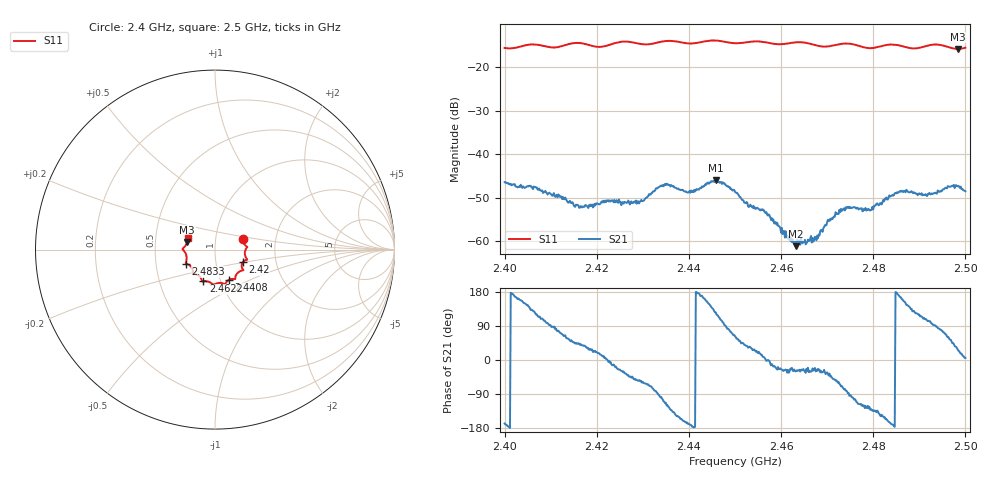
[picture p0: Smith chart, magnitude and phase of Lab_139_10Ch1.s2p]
# Hz S RI R 50
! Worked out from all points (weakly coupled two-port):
!   601 points, 2.4 GHz to 2.5 GHz, reference 50 ohm
!   highest |S21| = -46.00 dB at 2.4458 GHz (marker M1); lowest = -61.1 dB at 2.4632 GHz (marker M2)
!   lowest |S11| = -15.9 dB at 2.4983 GHz (marker M3), VSWR 1.38, Z = 36.5 + j3.1 ohm
!   |S11| at or under -10 dB: start of sweep to end of sweep
!   S12 and S22 are empty: the file has one direction only
!   S11 on the Smith chart (normalised r, x): 2.4 GHz: 1.35, +0.16; 2.42 GHz: 1.35, -0.20; 2.4408 GHz: 1.09, -0.39; 2.4622 GHz: 0.83, -0.30; 2.4833 GHz: 0.71, -0.12; 2.5 GHz: 0.73, +0.10
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2.4e9  0.1541 0.0591  -0.00465 -0.00104  0 0  0 0
2.406833e9  0.1797 0.0136  -0.00207 0.00359  0 0  0 0
2.416667e9  0.1781 -0.057  0.00191 0.00161  0 0  0 0
2.42e9  0.1548 -0.0706  0.00253 0.000958  0 0  0 0
2.429667e9  0.1359 -0.1222  0.0017 -0.00245  0 0  0 0
2.433333e9  0.1132 -0.1537  -8.3e-05 -0.00416  0 0  0 0
2.435333e9  0.1126 -0.1639  -0.00223 -0.00397  0 0  0 0
2.440833e9  0.0764 -0.1699  -0.00375 -0.000276  0 0  0 0
2.445833e9  0.0535 -0.1935  -0.00291 0.00408  0 0  0 0
2.45e9  0.0251 -0.1853  0.00169 0.00328  0 0  0 0
2.4525e9  0.00231 -0.1916  0.00225 0.00171  0 0  0 0
2.456333e9  -0.0139 -0.1925  0.00224 0.000284  0 0  0 0
2.462167e9  -0.0645 -0.177  0.001 -0.000425  0 0  0 0
2.463167e9  -0.0698 -0.178  0.000762 -0.000439  0 0  0 0
2.466667e9  -0.0749 -0.1661  0.000842 -0.000475  0 0  0 0
2.473167e9  -0.1225 -0.1375  0.000819 -0.00208  0 0  0 0
2.479167e9  -0.1307 -0.0992  -0.00126 -0.0019  0 0  0 0
2.483333e9  -0.1617 -0.0787  -0.00306 -0.000963  0 0  0 0
2.486167e9  -0.1603 -0.0667  -0.0036 0.00125  0 0  0 0
2.491167e9  -0.1716 -0.0079  -0.00105 0.00324  0 0  0 0
2.498333e9  -0.1551 0.0414  0.00381 0.00195  0 0  0 0
2.5e9  -0.1528 0.0656  0.00373 0.000367  0 0  0 0
